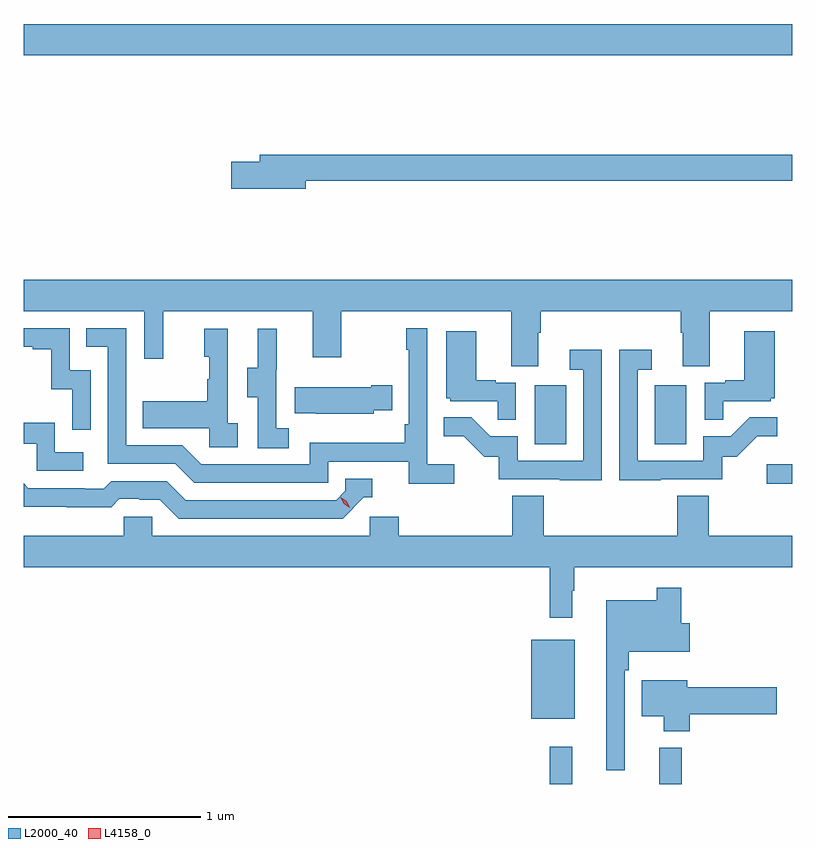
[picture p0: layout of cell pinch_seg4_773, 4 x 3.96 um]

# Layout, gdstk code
import gdstk
lib = gdstk.Library(unit=1e-6, precision=1e-09)
def R(c, l, rs):  # rectangles x0, y0, x1, y1
    for r in rs: c.add(gdstk.rectangle(r[:2], r[2:], *l))
def P(c, l, *ps):  # polygons
    for p in ps: c.add(gdstk.Polygon(p, *l))
L2000_40 = (2000, 40)
L4158_0 = (4158, 0)

pinch_seg4_773 = lib.new_cell('pinch_seg4_773')
R(pinch_seg4_773, L2000_40, [(821.005,817.003,821.123,817.198), (821.576,817.003,821.693,817.192), (820.91,817.343,821.137,817.753), (822.135,818.566,822.268,818.668), (820.928,818.772,821.092,819.079), (821.552,818.772,821.716,819.079), (818.268,820.796,822.268,820.96)])
P(pinch_seg4_773, L2000_40, [(819.736,820.144),(822.268,820.144),(822.268,820.28),(819.497,820.28),(819.497,820.244),(819.348,820.244),(819.348,820.102),(819.736,820.102)],
  [(820.945,819.352),(820.958,819.352),(820.958,819.464),(821.687,819.464),(821.687,819.352),(821.699,819.352),(821.699,819.178),(821.839,819.178),(821.839,819.464),(822.268,819.464),(822.268,819.628),(818.268,819.628),(818.268,819.464),(818.895,819.464),(818.895,819.216),(818.993,819.216),(818.993,819.464),(819.773,819.464),(819.773,819.225),(819.921,819.225),(819.921,819.464),(820.805,819.464),(820.805,819.178),(820.945,819.178)],
  [(820.51,818.668),(820.368,818.668),(820.368,819.376),(820.26,819.376),(820.26,819.263),(820.272,819.263),(820.272,818.875),(820.252,818.875),(820.252,818.779),(819.756,818.779),(819.756,818.667),(819.192,818.667),(819.093,818.766),(818.802,818.766),(818.802,819.375),(818.593,819.375),(818.593,819.279),(818.706,819.279),(818.706,818.67),(819.056,818.67),(819.155,818.571),(819.852,818.571),(819.852,818.682),(820.271,818.682),(820.271,818.566),(820.51,818.566)],
  [(818.616,819.156),(818.508,819.156),(818.508,819.375),(818.268,819.375),(818.268,819.279),(818.315,819.279),(818.315,819.267),(818.411,819.267),(818.411,819.059),(818.52,819.059),(818.52,818.847),(818.616,818.847)],
  [(819.382,818.882),(819.33,818.882),(819.33,819.373),(819.206,819.373),(819.206,819.228),(819.232,819.228),(819.232,819.11),(819.222,819.11),(819.222,818.995),(818.887,818.995),(818.887,818.855),(819.234,818.855),(819.234,818.757),(819.382,818.757)],
  [(819.646,818.855),(819.582,818.855),(819.582,819.159),(819.584,819.159),(819.584,819.373),(819.485,819.373),(819.485,819.171),(819.431,819.171),(819.431,819.016),(819.486,819.016),(819.486,818.752),(819.646,818.752)],
  [(820.83,819.093),(820.724,819.093),(820.724,819.106),(820.624,819.106),(820.624,819.361),(820.466,819.361),(820.466,819.012),(820.488,819.012),(820.488,818.997),(820.735,818.997),(820.735,818.899),(820.83,818.899)],
  [(821.909,818.997),(822.156,818.997),(822.156,819.012),(822.178,819.012),(822.178,819.361),(822.02,819.361),(822.02,819.106),(821.921,819.106),(821.921,819.093),(821.814,819.093),(821.814,818.899),(821.909,818.899)],
  [(821.585,818.589),(821.904,818.589),(821.904,818.706),(821.98,818.706),(822.087,818.813),(822.191,818.813),(822.191,818.912),(822.047,818.912),(821.949,818.814),(821.805,818.814),(821.805,818.685),(821.463,818.685),(821.463,819.159),(821.536,819.159),(821.536,819.265),(821.367,819.265),(821.367,818.584),(821.585,818.584)],
  [(821.277,819.265),(821.109,819.265),(821.109,819.159),(821.181,819.159),(821.181,818.685),(820.839,818.685),(820.839,818.814),(820.695,818.814),(820.597,818.912),(820.453,818.912),(820.453,818.813),(820.557,818.813),(820.664,818.706),(820.741,818.706),(820.741,818.589),(821.059,818.589),(821.059,818.584),(821.277,818.584)],
  [(820.089,818.948),(820.187,818.948),(820.187,819.078),(820.076,819.078),(820.076,819.07),(819.679,819.07),(819.679,818.933),(819.787,818.933),(819.787,818.93),(820.089,818.93)],
  [(818.578,818.73),(818.43,818.73),(818.43,818.884),(818.268,818.884),(818.268,818.775),(818.334,818.775),(818.334,818.634),(818.578,818.634)],
  [(820.038,818.496),(820.081,818.496),(820.081,818.592),(819.942,818.592),(819.942,818.529),(819.894,818.481),(819.111,818.481),(819.012,818.58),(818.723,818.58),(818.684,818.541),(818.585,818.541),(818.585,818.544),(818.292,818.544),(818.268,818.568),(818.268,818.447),(818.49,818.447),(818.49,818.445),(818.723,818.445),(818.765,818.487),(818.868,818.487),(818.868,818.484),(818.975,818.484),(819.074,818.385),(819.927,818.385)],
  [(821.122,818.009),(821.134,818.009),(821.134,818.132),(822.268,818.132),(822.268,818.296),(821.834,818.296),(821.834,818.504),(821.669,818.504),(821.669,818.296),(820.976,818.296),(820.976,818.504),(820.811,818.504),(820.811,818.296),(820.22,818.296),(820.22,818.394),(820.068,818.394),(820.068,818.296),(818.937,818.296),(818.937,818.394),(818.787,818.394),(818.787,818.296),(818.268,818.296),(818.268,818.132),(821.005,818.132),(821.005,817.869),(821.122,817.869)],
  [(821.397,817.595),(821.417,817.595),(821.417,817.691),(821.734,817.691),(821.734,817.839),(821.69,817.839),(821.69,818.026),(821.562,818.026),(821.562,817.96),(821.3,817.96),(821.3,817.074),(821.397,817.074)],
  [(821.735,817.366),(822.187,817.366),(822.187,817.508),(821.722,817.508),(821.722,817.543),(821.486,817.543),(821.486,817.355),(821.6,817.355),(821.6,817.277),(821.735,817.277)])
P(pinch_seg4_773, L4158_0, [(819.964,818.442),(819.933,818.462),(819.918,818.494),(819.918,818.495),(819.918,818.495),(819.948,818.475),(819.964,818.442),(819.964,818.442)])

lib.write_gds('pinch_seg4_773.gds')
